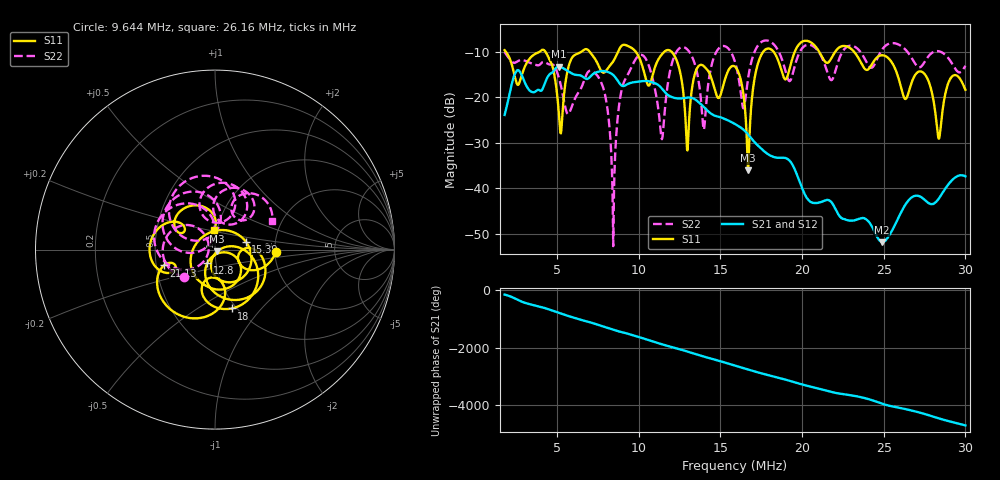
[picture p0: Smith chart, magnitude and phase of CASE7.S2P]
!Agilent Technologies,E5061B,MY49101568,A.02.00
!Date: Wed Mar 01 15:54:52 2023
!Data & Calibration Information:
!Freq	S11:SOLT2(OFF)	S21:SOLT2(OFF)	S12:SOLT2(OFF)	S22:SOLT2(OFF)
# Hz S dB R 50
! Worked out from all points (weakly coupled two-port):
!   1155 points, 1.8 MHz to 30 MHz, reference 50 ohm
!   highest |S21| = -13.31 dB at 5.123 MHz (marker M1); lowest = -51.9 dB at 24.89 MHz (marker M2)
!   lowest |S11| = -36.1 dB at 16.71 MHz (marker M3), VSWR 1.03, Z = 51.2 - j1.06 ohm
!   |S11| at or under -10 dB: 4.292 MHz to 6.511 MHz (2.22 MHz wide, 41.1 % of centre); 12.01 MHz to 17.63 MHz (5.626 MHz wide, 38 % of centre); 23.18 MHz to end of sweep (the widest 3 of 8)
!   |S22| runs from -52.8 to -7.6 dB; largest |S21 - S12| = 0.003
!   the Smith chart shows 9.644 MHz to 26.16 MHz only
!   S11 on the Smith chart (normalised r, x): 9.644 MHz: 2.03, -0.06; 12.8 MHz: 0.91, -0.14; 15.39 MHz: 1.41, +0.13; 18 MHz: 0.95, -0.71; 21.13 MHz: 0.55, -0.11; 26.16 MHz: 0.96, +0.21
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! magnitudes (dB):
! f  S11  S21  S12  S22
! 1.8 MHz  -9.7  -23.9  -23.9  -10.1
! 4.268 MHz  -9.9  -16.9  -16.9  -12.3
! 5.123 MHz  -23.6  -13.3  -13.3  -15.8
! 6.516 MHz  -10.0  -15.4  -15.3  -17.8
! 7.811 MHz  -14.6  -14.3  -14.2  -17.7
! 8.447 MHz  -12.1  -15.1  -15.1  -52.8
! 8.887 MHz  -9.0  -17.2  -17.2  -19.8
! 9.644 MHz  -9.4  -16.8  -16.8  -12.8
! 11.21 MHz  -11.7  -17.3  -17.4  -22.7
! 12.8 MHz  -21.1  -20.2  -20.3  -9.1
! 13.99 MHz  -13.2  -22.2  -22.2  -27.2
! 15.39 MHz  -15.0  -25.0  -25.0  -9.0
! 15.9 MHz  -13.3  -25.9  -26.0  -12.3
! 16.71 MHz  -36.1  -28.2  -28.2  -15.7
! 18 MHz  -9.3  -32.7  -32.8  -7.7
! 20.62 MHz  -8.1  -43.2  -43.1  -8.7
! 21.13 MHz  -10.5  -43.1  -43.0  -10.7
! 24.89 MHz  -10.8  -51.9  -51.8  -9.6
! 25.31 MHz  -11.5  -50.5  -50.5  -8.3
! 26.16 MHz  -19.2  -44.6  -44.6  -9.0
! 28.36 MHz  -29.1  -42.3  -42.3  -9.9
! 30 MHz  -18.4  -37.4  -37.3  -13.1
